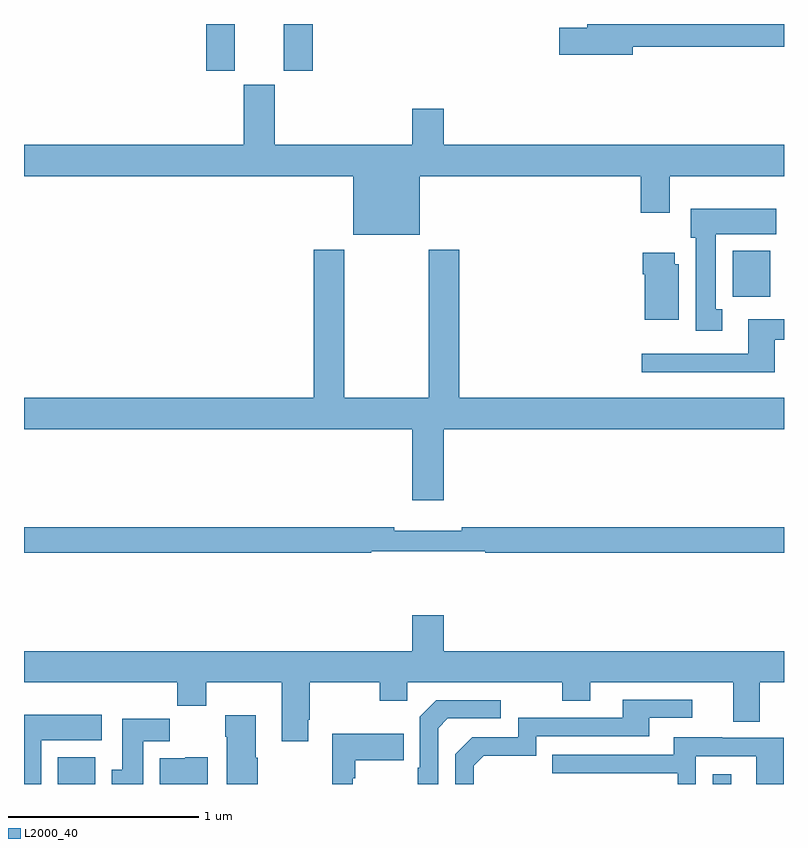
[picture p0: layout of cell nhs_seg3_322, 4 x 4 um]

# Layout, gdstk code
import gdstk
lib = gdstk.Library(unit=1e-6, precision=1e-09)
def R(c, l, rs):  # rectangles x0, y0, x1, y1
    for r in rs: c.add(gdstk.rectangle(r[:2], r[2:], *l))
def P(c, l, *ps):  # polygons
    for p in ps: c.add(gdstk.Polygon(p, *l))
L2000_40 = (2000, 40)

nhs_seg3_322 = lib.new_cell('nhs_seg3_322')
R(nhs_seg3_322, L2000_40, [(127.178,680.4,127.375,680.542), (130.626,680.4,130.723,680.452), (130.73,682.964,130.927,683.206), (127.958,684.153,128.11,684.4), (128.366,684.153,128.519,684.4)])
P(nhs_seg3_322, L2000_40, [(130.204,684.28),(131,684.28),(131,684.4),(129.965,684.4),(129.965,684.38),(129.816,684.38),(129.816,684.238),(130.204,684.238)],
  [(129.082,683.6),(130.247,683.6),(130.247,683.406),(130.399,683.406),(130.399,683.6),(131,683.6),(131,683.764),(129.208,683.764),(129.208,683.953),(129.044,683.953),(129.044,683.764),(128.32,683.764),(128.32,684.081),(128.156,684.081),(128.156,683.764),(127,683.764),(127,683.6),(128.732,683.6),(128.732,683.291),(129.082,683.291)],
  [(130.675,682.898),(130.642,682.898),(130.642,683.294),(130.96,683.294),(130.96,683.428),(130.508,683.428),(130.508,683.274),(130.535,683.274),(130.535,682.785),(130.675,682.785)],
  [(129.208,682.268),(131,682.268),(131,682.432),(129.29,682.432),(129.29,683.212),(129.13,683.212),(129.13,682.432),(128.685,682.432),(128.685,683.212),(128.525,683.212),(128.525,682.432),(127,682.432),(127,682.268),(129.044,682.268),(129.044,681.894),(129.208,681.894)],
  [(130.447,683.136),(130.426,683.136),(130.426,683.197),(130.256,683.197),(130.256,683.084),(130.268,683.084),(130.268,682.844),(130.447,682.844)],
  [(130.951,682.737),(131,682.737),(131,682.846),(130.811,682.846),(130.811,682.665),(130.251,682.665),(130.251,682.568),(130.951,682.568)],
  [(128.828,681.624),(129.428,681.624),(129.428,681.616),(131,681.616),(131,681.752),(129.304,681.752),(129.304,681.733),(128.948,681.733),(128.948,681.752),(127,681.752),(127,681.616),(128.828,681.616)],
  [(128.497,680.737),(128.505,680.737),(128.505,680.936),(128.872,680.936),(128.872,680.837),(129.018,680.837),(129.018,680.936),(129.832,680.936),(129.832,680.837),(129.979,680.837),(129.979,680.936),(130.733,680.936),(130.733,680.728),(130.873,680.728),(130.873,680.936),(131,680.936),(131,681.1),(129.208,681.1),(129.208,681.289),(129.044,681.289),(129.044,681.1),(127,681.1),(127,680.936),(127.807,680.936),(127.807,680.812),(127.959,680.812),(127.959,680.936),(128.357,680.936),(128.357,680.625),(128.497,680.625)],
  [(129.366,680.496),(129.419,680.549),(129.696,680.549),(129.696,680.652),(130.291,680.652),(130.291,680.748),(130.516,680.748),(130.516,680.844),(130.151,680.844),(130.151,680.748),(129.6,680.748),(129.6,680.646),(129.36,680.646),(129.27,680.556),(129.27,680.4),(129.366,680.4)],
  [(129.18,680.694),(129.231,680.745),(129.508,680.745),(129.508,680.841),(129.171,680.841),(129.084,680.754),(129.084,680.485),(129.072,680.485),(129.072,680.4),(129.18,680.4)],
  [(127.09,680.63),(127.408,680.63),(127.408,680.764),(127,680.764),(127,680.4),(127.09,680.4)],
  [(128.229,680.537),(128.221,680.537),(128.221,680.761),(128.059,680.761),(128.059,680.648),(128.066,680.648),(128.066,680.4),(128.229,680.4)],
  [(127.627,680.624),(127.766,680.624),(127.766,680.743),(127.517,680.743),(127.517,680.476),(127.463,680.476),(127.463,680.4),(127.627,680.4)],
  [(128.73,680.429),(128.743,680.429),(128.743,680.525),(128.999,680.525),(128.999,680.665),(128.622,680.665),(128.622,680.4),(128.73,680.4)],
  [(130.536,680.547),(130.854,680.547),(130.854,680.4),(130.999,680.4),(130.999,680.643),(130.675,680.643),(130.675,680.647),(130.421,680.647),(130.421,680.553),(129.781,680.553),(129.781,680.457),(130.44,680.457),(130.44,680.4),(130.536,680.4)],
  [(127.966,680.542),(127.848,680.542),(127.848,680.536),(127.715,680.536),(127.715,680.4),(127.966,680.4)])

lib.write_gds('nhs_seg3_322.gds')
